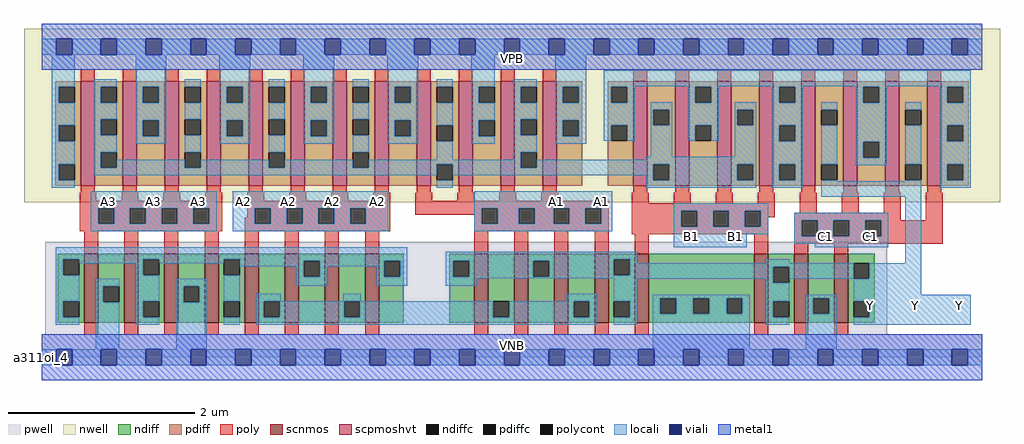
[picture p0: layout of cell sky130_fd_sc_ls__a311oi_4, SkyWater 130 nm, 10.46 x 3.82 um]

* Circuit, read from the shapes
.subckt sky130_fd_sc_ls__a311oi_4 A1 A2 A3 B1 C1 VGND VNB VPB VPWR Y
XM1 VGND A3 n1 VNB sky130_fd_pr__nfet_01v8 w=0.74 l=0.15 m=4
XM2 n2 A2 n1 VNB sky130_fd_pr__nfet_01v8 w=0.74 l=0.15 m=4
XM3 n2 A1 Y VNB sky130_fd_pr__nfet_01v8 w=0.74 l=0.15 m=4
XM4 VGND B1 Y VNB sky130_fd_pr__nfet_01v8 w=0.74 l=0.15 m=2
XM5 VGND C1 Y VNB sky130_fd_pr__nfet_01v8 w=0.74 l=0.15 m=2
XM6 n3 A3 VPWR VPB sky130_fd_pr__pfet_01v8_hvt w=1.12 l=0.15 m=4
XM7 n3 A2 VPWR VPB sky130_fd_pr__pfet_01v8_hvt w=1.12 l=0.15 m=4
XM8 n3 A1 VPWR VPB sky130_fd_pr__pfet_01v8_hvt w=1.12 l=0.15 m=4
XM9 n3 B1 n4 VPB sky130_fd_pr__pfet_01v8_hvt w=1.12 l=0.15 m=4
XM10 Y C1 n4 VPB sky130_fd_pr__pfet_01v8_hvt w=1.12 l=0.15 m=4
.ends

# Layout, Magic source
magic
tech sky130A
magscale 1 2
<< nwell >>
rect -38 332 2054 704
<< pwell >>
rect 8 49 1812 248
rect 0 0 2016 49
<< scnmos >>
rect 91 74 121 222
rect 177 74 207 222
rect 263 74 293 222
rect 349 74 379 222
rect 435 74 465 222
rect 521 74 551 222
rect 607 74 637 222
rect 693 74 723 222
rect 927 74 957 222
rect 1013 74 1043 222
rect 1099 74 1129 222
rect 1185 74 1215 222
rect 1271 74 1301 222
rect 1527 74 1557 222
rect 1613 74 1643 222
rect 1699 74 1729 222
<< scpmoshvt >>
rect 84 368 114 592
rect 174 368 204 592
rect 264 368 294 592
rect 354 368 384 592
rect 444 368 474 592
rect 534 368 564 592
rect 624 368 654 592
rect 714 368 744 592
rect 804 368 834 592
rect 894 368 924 592
rect 984 368 1014 592
rect 1074 368 1104 592
rect 1268 368 1298 592
rect 1358 368 1388 592
rect 1448 368 1478 592
rect 1538 368 1568 592
rect 1628 368 1658 592
rect 1718 368 1748 592
rect 1808 368 1838 592
rect 1898 368 1928 592
<< ndiff >>
rect 34 210 91 222
rect 34 176 46 210
rect 80 176 91 210
rect 34 120 91 176
rect 34 86 46 120
rect 80 86 91 120
rect 34 74 91 86
rect 121 152 177 222
rect 121 118 132 152
rect 166 118 177 152
rect 121 74 177 118
rect 207 210 263 222
rect 207 176 218 210
rect 252 176 263 210
rect 207 120 263 176
rect 207 86 218 120
rect 252 86 263 120
rect 207 74 263 86
rect 293 152 349 222
rect 293 118 304 152
rect 338 118 349 152
rect 293 74 349 118
rect 379 210 435 222
rect 379 176 390 210
rect 424 176 435 210
rect 379 120 435 176
rect 379 86 390 120
rect 424 86 435 120
rect 379 74 435 86
rect 465 120 521 222
rect 465 86 476 120
rect 510 86 521 120
rect 465 74 521 86
rect 551 207 607 222
rect 551 173 562 207
rect 596 173 607 207
rect 551 74 607 173
rect 637 120 693 222
rect 637 86 648 120
rect 682 86 693 120
rect 637 74 693 86
rect 723 207 776 222
rect 723 173 734 207
rect 768 173 776 207
rect 723 74 776 173
rect 874 207 927 222
rect 874 173 882 207
rect 916 173 927 207
rect 874 74 927 173
rect 957 120 1013 222
rect 957 86 968 120
rect 1002 86 1013 120
rect 957 74 1013 86
rect 1043 207 1099 222
rect 1043 173 1054 207
rect 1088 173 1099 207
rect 1043 74 1099 173
rect 1129 120 1185 222
rect 1129 86 1140 120
rect 1174 86 1185 120
rect 1129 74 1185 86
rect 1215 210 1271 222
rect 1215 176 1226 210
rect 1260 176 1271 210
rect 1215 120 1271 176
rect 1215 86 1226 120
rect 1260 86 1271 120
rect 1215 74 1271 86
rect 1301 127 1527 222
rect 1301 93 1326 127
rect 1360 93 1397 127
rect 1431 93 1468 127
rect 1502 93 1527 127
rect 1301 74 1527 93
rect 1557 194 1613 222
rect 1557 160 1568 194
rect 1602 160 1613 194
rect 1557 120 1613 160
rect 1557 86 1568 120
rect 1602 86 1613 120
rect 1557 74 1613 86
rect 1643 127 1699 222
rect 1643 93 1654 127
rect 1688 93 1699 127
rect 1643 74 1699 93
rect 1729 202 1786 222
rect 1729 168 1740 202
rect 1774 168 1786 202
rect 1729 120 1786 168
rect 1729 86 1740 120
rect 1774 86 1786 120
rect 1729 74 1786 86
<< pdiff >>
rect 29 580 84 592
rect 29 546 37 580
rect 71 546 84 580
rect 29 497 84 546
rect 29 463 37 497
rect 71 463 84 497
rect 29 414 84 463
rect 29 380 37 414
rect 71 380 84 414
rect 29 368 84 380
rect 114 580 174 592
rect 114 546 127 580
rect 161 546 174 580
rect 114 510 174 546
rect 114 476 127 510
rect 161 476 174 510
rect 114 440 174 476
rect 114 406 127 440
rect 161 406 174 440
rect 114 368 174 406
rect 204 580 264 592
rect 204 546 217 580
rect 251 546 264 580
rect 204 508 264 546
rect 204 474 217 508
rect 251 474 264 508
rect 204 368 264 474
rect 294 580 354 592
rect 294 546 307 580
rect 341 546 354 580
rect 294 510 354 546
rect 294 476 307 510
rect 341 476 354 510
rect 294 440 354 476
rect 294 406 307 440
rect 341 406 354 440
rect 294 368 354 406
rect 384 580 444 592
rect 384 546 397 580
rect 431 546 444 580
rect 384 508 444 546
rect 384 474 397 508
rect 431 474 444 508
rect 384 368 444 474
rect 474 580 534 592
rect 474 546 487 580
rect 521 546 534 580
rect 474 510 534 546
rect 474 476 487 510
rect 521 476 534 510
rect 474 440 534 476
rect 474 406 487 440
rect 521 406 534 440
rect 474 368 534 406
rect 564 580 624 592
rect 564 546 577 580
rect 611 546 624 580
rect 564 508 624 546
rect 564 474 577 508
rect 611 474 624 508
rect 564 368 624 474
rect 654 580 714 592
rect 654 546 667 580
rect 701 546 714 580
rect 654 510 714 546
rect 654 476 667 510
rect 701 476 714 510
rect 654 440 714 476
rect 654 406 667 440
rect 701 406 714 440
rect 654 368 714 406
rect 744 580 804 592
rect 744 546 757 580
rect 791 546 804 580
rect 744 508 804 546
rect 744 474 757 508
rect 791 474 804 508
rect 744 368 804 474
rect 834 580 894 592
rect 834 546 847 580
rect 881 546 894 580
rect 834 497 894 546
rect 834 463 847 497
rect 881 463 894 497
rect 834 414 894 463
rect 834 380 847 414
rect 881 380 894 414
rect 834 368 894 380
rect 924 580 984 592
rect 924 546 937 580
rect 971 546 984 580
rect 924 508 984 546
rect 924 474 937 508
rect 971 474 984 508
rect 924 368 984 474
rect 1014 580 1074 592
rect 1014 546 1027 580
rect 1061 546 1074 580
rect 1014 510 1074 546
rect 1014 476 1027 510
rect 1061 476 1074 510
rect 1014 440 1074 476
rect 1014 406 1027 440
rect 1061 406 1074 440
rect 1014 368 1074 406
rect 1104 580 1159 592
rect 1104 546 1117 580
rect 1151 546 1159 580
rect 1104 508 1159 546
rect 1104 474 1117 508
rect 1151 474 1159 508
rect 1104 368 1159 474
rect 1213 580 1268 592
rect 1213 546 1221 580
rect 1255 546 1268 580
rect 1213 498 1268 546
rect 1213 464 1221 498
rect 1255 464 1268 498
rect 1213 368 1268 464
rect 1298 531 1358 592
rect 1298 497 1311 531
rect 1345 497 1358 531
rect 1298 414 1358 497
rect 1298 380 1311 414
rect 1345 380 1358 414
rect 1298 368 1358 380
rect 1388 580 1448 592
rect 1388 546 1401 580
rect 1435 546 1448 580
rect 1388 498 1448 546
rect 1388 464 1401 498
rect 1435 464 1448 498
rect 1388 368 1448 464
rect 1478 531 1538 592
rect 1478 497 1491 531
rect 1525 497 1538 531
rect 1478 414 1538 497
rect 1478 380 1491 414
rect 1525 380 1538 414
rect 1478 368 1538 380
rect 1568 580 1628 592
rect 1568 546 1581 580
rect 1615 546 1628 580
rect 1568 497 1628 546
rect 1568 463 1581 497
rect 1615 463 1628 497
rect 1568 414 1628 463
rect 1568 380 1581 414
rect 1615 380 1628 414
rect 1568 368 1628 380
rect 1658 531 1718 592
rect 1658 497 1671 531
rect 1705 497 1718 531
rect 1658 414 1718 497
rect 1658 380 1671 414
rect 1705 380 1718 414
rect 1658 368 1718 380
rect 1748 580 1808 592
rect 1748 546 1761 580
rect 1795 546 1808 580
rect 1748 462 1808 546
rect 1748 428 1761 462
rect 1795 428 1808 462
rect 1748 368 1808 428
rect 1838 531 1898 592
rect 1838 497 1851 531
rect 1885 497 1898 531
rect 1838 414 1898 497
rect 1838 380 1851 414
rect 1885 380 1898 414
rect 1838 368 1898 380
rect 1928 580 1987 592
rect 1928 546 1941 580
rect 1975 546 1987 580
rect 1928 497 1987 546
rect 1928 463 1941 497
rect 1975 463 1987 497
rect 1928 414 1987 463
rect 1928 380 1941 414
rect 1975 380 1987 414
rect 1928 368 1987 380
<< ndiffc >>
rect 46 176 80 210
rect 46 86 80 120
rect 132 118 166 152
rect 218 176 252 210
rect 218 86 252 120
rect 304 118 338 152
rect 390 176 424 210
rect 390 86 424 120
rect 476 86 510 120
rect 562 173 596 207
rect 648 86 682 120
rect 734 173 768 207
rect 882 173 916 207
rect 968 86 1002 120
rect 1054 173 1088 207
rect 1140 86 1174 120
rect 1226 176 1260 210
rect 1226 86 1260 120
rect 1326 93 1360 127
rect 1397 93 1431 127
rect 1468 93 1502 127
rect 1568 160 1602 194
rect 1568 86 1602 120
rect 1654 93 1688 127
rect 1740 168 1774 202
rect 1740 86 1774 120
<< pdiffc >>
rect 37 546 71 580
rect 37 463 71 497
rect 37 380 71 414
rect 127 546 161 580
rect 127 476 161 510
rect 127 406 161 440
rect 217 546 251 580
rect 217 474 251 508
rect 307 546 341 580
rect 307 476 341 510
rect 307 406 341 440
rect 397 546 431 580
rect 397 474 431 508
rect 487 546 521 580
rect 487 476 521 510
rect 487 406 521 440
rect 577 546 611 580
rect 577 474 611 508
rect 667 546 701 580
rect 667 476 701 510
rect 667 406 701 440
rect 757 546 791 580
rect 757 474 791 508
rect 847 546 881 580
rect 847 463 881 497
rect 847 380 881 414
rect 937 546 971 580
rect 937 474 971 508
rect 1027 546 1061 580
rect 1027 476 1061 510
rect 1027 406 1061 440
rect 1117 546 1151 580
rect 1117 474 1151 508
rect 1221 546 1255 580
rect 1221 464 1255 498
rect 1311 497 1345 531
rect 1311 380 1345 414
rect 1401 546 1435 580
rect 1401 464 1435 498
rect 1491 497 1525 531
rect 1491 380 1525 414
rect 1581 546 1615 580
rect 1581 463 1615 497
rect 1581 380 1615 414
rect 1671 497 1705 531
rect 1671 380 1705 414
rect 1761 546 1795 580
rect 1761 428 1795 462
rect 1851 497 1885 531
rect 1851 380 1885 414
rect 1941 546 1975 580
rect 1941 463 1975 497
rect 1941 380 1975 414
<< poly >>
rect 84 592 114 618
rect 174 592 204 618
rect 264 592 294 618
rect 354 592 384 618
rect 444 592 474 618
rect 534 592 564 618
rect 624 592 654 618
rect 714 592 744 618
rect 804 592 834 618
rect 894 592 924 618
rect 984 592 1014 618
rect 1074 592 1104 618
rect 1268 592 1298 618
rect 1358 592 1388 618
rect 1448 592 1478 618
rect 1538 592 1568 618
rect 1628 592 1658 618
rect 1718 592 1748 618
rect 1808 592 1838 618
rect 1898 592 1928 618
rect 84 353 114 368
rect 174 353 204 368
rect 264 353 294 368
rect 354 353 384 368
rect 444 353 474 368
rect 534 353 564 368
rect 624 353 654 368
rect 714 353 744 368
rect 804 353 834 368
rect 894 353 924 368
rect 984 353 1014 368
rect 1074 353 1104 368
rect 1268 353 1298 368
rect 1358 353 1388 368
rect 1448 353 1478 368
rect 1538 353 1568 368
rect 1628 353 1658 368
rect 1718 353 1748 368
rect 1808 353 1838 368
rect 1898 353 1928 368
rect 81 336 117 353
rect 171 336 207 353
rect 261 336 297 353
rect 351 336 387 353
rect 81 320 387 336
rect 81 286 121 320
rect 155 286 189 320
rect 223 286 257 320
rect 291 286 325 320
rect 359 286 387 320
rect 441 336 477 353
rect 531 336 567 353
rect 621 336 657 353
rect 711 336 747 353
rect 441 320 747 336
rect 441 300 457 320
rect 81 270 387 286
rect 435 286 457 300
rect 491 286 525 320
rect 559 286 593 320
rect 627 286 661 320
rect 695 286 747 320
rect 801 336 837 353
rect 891 336 927 353
rect 981 336 1017 353
rect 1071 336 1107 353
rect 801 320 1215 336
rect 801 306 943 320
rect 435 270 747 286
rect 927 286 943 306
rect 977 286 1023 320
rect 1057 286 1097 320
rect 1131 286 1165 320
rect 1199 286 1215 320
rect 927 270 1215 286
rect 91 222 121 270
rect 177 222 207 270
rect 263 222 293 270
rect 349 222 379 270
rect 435 222 465 270
rect 521 222 551 270
rect 607 222 637 270
rect 693 222 723 270
rect 927 222 957 270
rect 1013 222 1043 270
rect 1099 222 1129 270
rect 1185 222 1215 270
rect 1265 330 1301 353
rect 1355 330 1391 353
rect 1445 330 1481 353
rect 1535 330 1571 353
rect 1265 314 1571 330
rect 1265 280 1371 314
rect 1405 280 1439 314
rect 1473 280 1507 314
rect 1541 300 1571 314
rect 1625 310 1661 353
rect 1715 310 1751 353
rect 1805 310 1841 353
rect 1541 280 1557 300
rect 1265 264 1557 280
rect 1271 222 1301 264
rect 1527 222 1557 264
rect 1613 294 1841 310
rect 1895 294 1931 353
rect 1613 260 1629 294
rect 1663 260 1697 294
rect 1731 260 1765 294
rect 1799 260 1931 294
rect 1613 244 1931 260
rect 1613 222 1643 244
rect 1699 222 1729 244
rect 91 48 121 74
rect 177 48 207 74
rect 263 48 293 74
rect 349 48 379 74
rect 435 48 465 74
rect 521 48 551 74
rect 607 48 637 74
rect 693 48 723 74
rect 927 48 957 74
rect 1013 48 1043 74
rect 1099 48 1129 74
rect 1185 48 1215 74
rect 1271 48 1301 74
rect 1527 48 1557 74
rect 1613 48 1643 74
rect 1699 48 1729 74
<< polycont >>
rect 121 286 155 320
rect 189 286 223 320
rect 257 286 291 320
rect 325 286 359 320
rect 457 286 491 320
rect 525 286 559 320
rect 593 286 627 320
rect 661 286 695 320
rect 943 286 977 320
rect 1023 286 1057 320
rect 1097 286 1131 320
rect 1165 286 1199 320
rect 1371 280 1405 314
rect 1439 280 1473 314
rect 1507 280 1541 314
rect 1629 260 1663 294
rect 1697 260 1731 294
rect 1765 260 1799 294
<< locali >>
rect 0 649 31 683
rect 65 649 127 683
rect 161 649 223 683
rect 257 649 319 683
rect 353 649 415 683
rect 449 649 511 683
rect 545 649 607 683
rect 641 649 703 683
rect 737 649 799 683
rect 833 649 895 683
rect 929 649 991 683
rect 1025 649 1087 683
rect 1121 649 1183 683
rect 1217 649 1279 683
rect 1313 649 1375 683
rect 1409 649 1471 683
rect 1505 649 1567 683
rect 1601 649 1663 683
rect 1697 649 1759 683
rect 1793 649 1855 683
rect 1889 649 1951 683
rect 1985 649 2016 683
rect 21 580 71 649
rect 21 546 37 580
rect 21 497 71 546
rect 21 463 37 497
rect 21 414 71 463
rect 21 380 37 414
rect 111 580 161 596
rect 111 546 127 580
rect 111 510 161 546
rect 111 476 127 510
rect 111 440 161 476
rect 201 580 267 649
rect 201 546 217 580
rect 251 546 267 580
rect 201 508 267 546
rect 201 474 217 508
rect 251 474 267 508
rect 201 458 267 474
rect 307 580 341 596
rect 307 510 341 546
rect 111 406 127 440
rect 307 440 341 476
rect 381 580 447 649
rect 381 546 397 580
rect 431 546 447 580
rect 381 508 447 546
rect 381 474 397 508
rect 431 474 447 508
rect 381 458 447 474
rect 487 580 521 596
rect 487 510 521 546
rect 161 406 307 424
rect 487 440 521 476
rect 561 580 627 649
rect 561 546 577 580
rect 611 546 627 580
rect 561 508 627 546
rect 561 474 577 508
rect 611 474 627 508
rect 561 458 627 474
rect 667 580 701 596
rect 667 510 701 546
rect 341 406 487 424
rect 667 440 701 476
rect 741 580 807 649
rect 741 546 757 580
rect 791 546 807 580
rect 741 508 807 546
rect 741 474 757 508
rect 791 474 807 508
rect 741 458 807 474
rect 847 580 881 596
rect 847 497 881 546
rect 521 406 667 424
rect 847 424 881 463
rect 921 580 971 649
rect 921 546 937 580
rect 921 508 971 546
rect 921 474 937 508
rect 921 458 971 474
rect 1011 580 1061 596
rect 1011 546 1027 580
rect 1011 510 1061 546
rect 1011 476 1027 510
rect 1011 440 1061 476
rect 1101 580 1167 649
rect 1101 546 1117 580
rect 1151 546 1167 580
rect 1101 508 1167 546
rect 1101 474 1117 508
rect 1151 474 1167 508
rect 1101 458 1167 474
rect 1205 581 1991 615
rect 1205 580 1271 581
rect 1205 546 1221 580
rect 1255 546 1271 580
rect 1385 580 1451 581
rect 1205 498 1271 546
rect 1205 464 1221 498
rect 1255 464 1271 498
rect 1305 531 1351 547
rect 1305 497 1311 531
rect 1345 497 1351 531
rect 1011 424 1027 440
rect 701 414 1027 424
rect 701 406 847 414
rect 111 390 847 406
rect 21 364 71 380
rect 881 406 1027 414
rect 1305 430 1351 497
rect 1385 546 1401 580
rect 1435 546 1451 580
rect 1565 580 1631 581
rect 1385 498 1451 546
rect 1385 464 1401 498
rect 1435 464 1451 498
rect 1485 531 1531 547
rect 1485 497 1491 531
rect 1525 497 1531 531
rect 1485 430 1531 497
rect 1295 424 1531 430
rect 1061 414 1531 424
rect 1061 406 1311 414
rect 881 390 1311 406
rect 847 364 881 380
rect 1295 380 1311 390
rect 1345 380 1491 414
rect 1525 380 1531 414
rect 1295 364 1531 380
rect 1565 546 1581 580
rect 1615 546 1631 580
rect 1745 580 1811 581
rect 1565 497 1631 546
rect 1565 463 1581 497
rect 1615 463 1631 497
rect 1565 414 1631 463
rect 1565 380 1581 414
rect 1615 380 1631 414
rect 1565 364 1631 380
rect 1671 531 1705 547
rect 1671 414 1705 497
rect 1745 546 1761 580
rect 1795 546 1811 580
rect 1925 580 1991 581
rect 1745 462 1811 546
rect 1745 428 1761 462
rect 1795 428 1811 462
rect 1745 412 1811 428
rect 1851 531 1885 547
rect 1851 414 1885 497
rect 1671 378 1705 380
rect 1851 378 1885 380
rect 105 320 375 356
rect 105 286 121 320
rect 155 286 189 320
rect 223 286 257 320
rect 291 286 325 320
rect 359 286 375 320
rect 105 270 375 286
rect 409 320 743 356
rect 409 286 457 320
rect 491 286 525 320
rect 559 286 593 320
rect 627 286 661 320
rect 695 286 743 320
rect 409 270 743 286
rect 927 320 1223 356
rect 1671 344 1885 378
rect 1925 546 1941 580
rect 1975 546 1991 580
rect 1925 497 1991 546
rect 1925 463 1941 497
rect 1975 463 1991 497
rect 1925 414 1991 463
rect 1925 380 1941 414
rect 1975 380 1991 414
rect 1925 364 1991 380
rect 927 286 943 320
rect 977 286 1023 320
rect 1057 286 1097 320
rect 1131 286 1165 320
rect 1199 286 1223 320
rect 927 270 1223 286
rect 1355 314 1557 330
rect 1355 280 1371 314
rect 1405 280 1439 314
rect 1473 280 1507 314
rect 1541 280 1557 314
rect 1355 264 1557 280
rect 1613 294 1815 310
rect 1355 236 1511 264
rect 1613 260 1629 294
rect 1663 260 1697 294
rect 1731 260 1765 294
rect 1799 260 1815 294
rect 1613 244 1815 260
rect 1657 236 1815 244
rect 30 210 784 236
rect 30 176 46 210
rect 80 202 218 210
rect 30 120 80 176
rect 202 176 218 202
rect 252 202 390 210
rect 30 86 46 120
rect 30 70 80 86
rect 116 152 166 168
rect 116 118 132 152
rect 116 17 166 118
rect 202 120 252 176
rect 424 207 784 210
rect 424 195 562 207
rect 202 86 218 120
rect 202 70 252 86
rect 288 152 354 168
rect 288 118 304 152
rect 338 118 354 152
rect 288 17 354 118
rect 390 120 424 176
rect 546 173 562 195
rect 596 195 734 207
rect 596 173 612 195
rect 546 154 612 173
rect 718 173 734 195
rect 768 173 784 207
rect 718 154 784 173
rect 866 210 1276 226
rect 866 207 1226 210
rect 866 173 882 207
rect 916 173 1054 207
rect 1088 176 1226 207
rect 1260 202 1276 210
rect 1552 202 1602 210
rect 1851 202 1885 344
rect 1260 194 1740 202
rect 1260 176 1568 194
rect 1088 173 1568 176
rect 866 170 1568 173
rect 866 154 932 170
rect 1226 168 1568 170
rect 390 70 424 86
rect 460 120 512 136
rect 646 120 684 136
rect 1124 120 1190 136
rect 460 86 476 120
rect 510 86 648 120
rect 682 86 968 120
rect 1002 86 1140 120
rect 1174 86 1190 120
rect 460 70 1190 86
rect 1226 120 1276 168
rect 1552 160 1568 168
rect 1602 168 1740 194
rect 1774 168 1885 202
rect 1260 86 1276 120
rect 1226 70 1276 86
rect 1310 127 1518 134
rect 1310 93 1326 127
rect 1360 93 1397 127
rect 1431 93 1468 127
rect 1502 93 1518 127
rect 1310 17 1518 93
rect 1552 120 1602 160
rect 1740 134 1885 168
rect 1552 86 1568 120
rect 1552 70 1602 86
rect 1638 127 1704 134
rect 1638 93 1654 127
rect 1688 93 1704 127
rect 1638 17 1704 93
rect 1740 120 1991 134
rect 1774 86 1991 120
rect 1740 70 1991 86
rect 0 -17 31 17
rect 65 -17 127 17
rect 161 -17 223 17
rect 257 -17 319 17
rect 353 -17 415 17
rect 449 -17 511 17
rect 545 -17 607 17
rect 641 -17 703 17
rect 737 -17 799 17
rect 833 -17 895 17
rect 929 -17 991 17
rect 1025 -17 1087 17
rect 1121 -17 1183 17
rect 1217 -17 1279 17
rect 1313 -17 1375 17
rect 1409 -17 1471 17
rect 1505 -17 1567 17
rect 1601 -17 1663 17
rect 1697 -17 1759 17
rect 1793 -17 1855 17
rect 1889 -17 1951 17
rect 1985 -17 2016 17
<< viali >>
rect 31 649 65 683
rect 127 649 161 683
rect 223 649 257 683
rect 319 649 353 683
rect 415 649 449 683
rect 511 649 545 683
rect 607 649 641 683
rect 703 649 737 683
rect 799 649 833 683
rect 895 649 929 683
rect 991 649 1025 683
rect 1087 649 1121 683
rect 1183 649 1217 683
rect 1279 649 1313 683
rect 1375 649 1409 683
rect 1471 649 1505 683
rect 1567 649 1601 683
rect 1663 649 1697 683
rect 1759 649 1793 683
rect 1855 649 1889 683
rect 1951 649 1985 683
rect 31 -17 65 17
rect 127 -17 161 17
rect 223 -17 257 17
rect 319 -17 353 17
rect 415 -17 449 17
rect 511 -17 545 17
rect 607 -17 641 17
rect 703 -17 737 17
rect 799 -17 833 17
rect 895 -17 929 17
rect 991 -17 1025 17
rect 1087 -17 1121 17
rect 1183 -17 1217 17
rect 1279 -17 1313 17
rect 1375 -17 1409 17
rect 1471 -17 1505 17
rect 1567 -17 1601 17
rect 1663 -17 1697 17
rect 1759 -17 1793 17
rect 1855 -17 1889 17
rect 1951 -17 1985 17
<< metal1 >>
rect 0 683 2016 715
rect 0 649 31 683
rect 65 649 127 683
rect 161 649 223 683
rect 257 649 319 683
rect 353 649 415 683
rect 449 649 511 683
rect 545 649 607 683
rect 641 649 703 683
rect 737 649 799 683
rect 833 649 895 683
rect 929 649 991 683
rect 1025 649 1087 683
rect 1121 649 1183 683
rect 1217 649 1279 683
rect 1313 649 1375 683
rect 1409 649 1471 683
rect 1505 649 1567 683
rect 1601 649 1663 683
rect 1697 649 1759 683
rect 1793 649 1855 683
rect 1889 649 1951 683
rect 1985 649 2016 683
rect 0 617 2016 649
rect 0 17 2016 49
rect 0 -17 31 17
rect 65 -17 127 17
rect 161 -17 223 17
rect 257 -17 319 17
rect 353 -17 415 17
rect 449 -17 511 17
rect 545 -17 607 17
rect 641 -17 703 17
rect 737 -17 799 17
rect 833 -17 895 17
rect 929 -17 991 17
rect 1025 -17 1087 17
rect 1121 -17 1183 17
rect 1217 -17 1279 17
rect 1313 -17 1375 17
rect 1409 -17 1471 17
rect 1505 -17 1567 17
rect 1601 -17 1663 17
rect 1697 -17 1759 17
rect 1793 -17 1855 17
rect 1889 -17 1951 17
rect 1985 -17 2016 17
rect 0 -49 2016 -17
<< labels >>
rlabel comment s 0 0 0 0 4 a311oi_4
flabel pwell s 0 0 2016 49 0 FreeSans 200 0 0 0 VNB
port 7 nsew ground bidirectional
flabel nwell s 0 617 2016 666 0 FreeSans 200 0 0 0 VPB
port 8 nsew power bidirectional
flabel metal1 s 0 617 2016 666 0 FreeSans 340 0 0 0 VPWR
port 9 nsew power bidirectional abutment
flabel metal1 s 0 0 2016 49 0 FreeSans 340 0 0 0 VGND
port 6 nsew ground bidirectional abutment
flabel locali s 1759 94 1793 128 0 FreeSans 340 0 0 0 Y
port 10 nsew signal output
flabel locali s 1855 94 1889 128 0 FreeSans 340 0 0 0 Y
port 10 nsew signal output
flabel locali s 1951 94 1985 128 0 FreeSans 340 0 0 0 Y
port 10 nsew signal output
flabel locali s 1663 242 1697 276 0 FreeSans 340 0 0 0 C1
port 5 nsew signal input
flabel locali s 1759 242 1793 276 0 FreeSans 340 0 0 0 C1
port 5 nsew signal input
flabel locali s 1375 242 1409 276 0 FreeSans 340 0 0 0 B1
port 4 nsew signal input
flabel locali s 1471 242 1505 276 0 FreeSans 340 0 0 0 B1
port 4 nsew signal input
flabel locali s 127 316 161 350 0 FreeSans 340 0 0 0 A3
port 3 nsew signal input
flabel locali s 223 316 257 350 0 FreeSans 340 0 0 0 A3
port 3 nsew signal input
flabel locali s 319 316 353 350 0 FreeSans 340 0 0 0 A3
port 3 nsew signal input
flabel locali s 415 316 449 350 0 FreeSans 340 0 0 0 A2
port 2 nsew signal input
flabel locali s 511 316 545 350 0 FreeSans 340 0 0 0 A2
port 2 nsew signal input
flabel locali s 607 316 641 350 0 FreeSans 340 0 0 0 A2
port 2 nsew signal input
flabel locali s 703 316 737 350 0 FreeSans 340 0 0 0 A2
port 2 nsew signal input
flabel locali s 1087 316 1121 350 0 FreeSans 340 0 0 0 A1
port 1 nsew signal input
flabel locali s 1183 316 1217 350 0 FreeSans 340 0 0 0 A1
port 1 nsew signal input
<< properties >>
string LEFsite unit
string LEFclass CORE
string FIXED_BBOX 0 0 2016 666
string GDS_FILE $PDKPATH/libs.ref/sky130_fd_sc_ls/gds/sky130_fd_sc_ls.gds
string LEFsymmetry X Y
string GDS_END 1655590
string GDS_START 1639192
<< end >>
